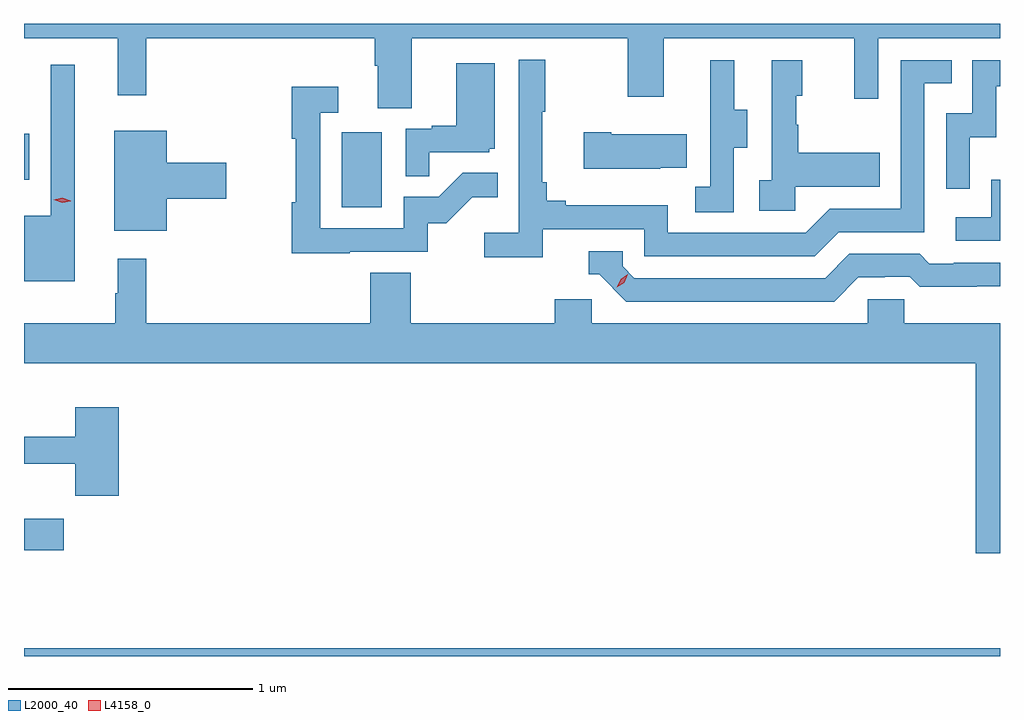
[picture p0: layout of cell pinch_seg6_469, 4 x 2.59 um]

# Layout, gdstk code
import gdstk
lib = gdstk.Library(unit=1e-6, precision=1e-09)
def R(c, l, rs):  # rectangles x0, y0, x1, y1
    for r in rs: c.add(gdstk.rectangle(r[:2], r[2:], *l))
def P(c, l, *ps):  # polygons
    for p in ps: c.add(gdstk.Polygon(p, *l))
L2000_40 = (2000, 40)
L4158_0 = (4158, 0)

pinch_seg6_469 = lib.new_cell('pinch_seg6_469')
R(pinch_seg6_469, L2000_40, [(867.091,915.5,871.091,915.532), (867.091,915.934,867.253,916.063), (868.394,917.34,868.558,917.647), (867.091,917.453,867.112,917.641)])
P(pinch_seg6_469, L2000_40, [(868.681,918.032),(869.566,918.032),(869.566,917.793),(869.713,917.793),(869.713,918.032),(870.494,918.032),(870.494,917.784),(870.591,917.784),(870.591,918.032),(871.091,918.032),(871.091,918.091),(867.091,918.091),(867.091,918.032),(867.476,918.032),(867.476,917.799),(867.593,917.799),(867.593,918.032),(868.529,918.032),(868.529,917.92),(868.541,917.92),(868.541,917.746),(868.681,917.746)],
  [(869.216,917.25),(869.634,917.25),(869.634,917.139),(870.331,917.139),(870.43,917.238),(870.78,917.238),(870.78,917.847),(870.893,917.847),(870.893,917.943),(870.684,917.943),(870.684,917.334),(870.393,917.334),(870.294,917.235),(869.73,917.235),(869.73,917.347),(869.311,917.347),(869.311,917.366),(869.234,917.366),(869.234,917.443),(869.215,917.443),(869.215,917.731),(869.227,917.731),(869.227,917.944),(869.118,917.944),(869.118,917.236),(868.977,917.236),(868.977,917.134),(869.216,917.134)],
  [(870.966,917.627),(871.076,917.627),(871.076,917.835),(871.091,917.835),(871.091,917.943),(870.978,917.943),(870.978,917.724),(870.87,917.724),(870.87,917.415),(870.966,917.415)],
  [(870.252,917.423),(870.599,917.423),(870.599,917.563),(870.265,917.563),(870.265,917.678),(870.255,917.678),(870.255,917.796),(870.28,917.796),(870.28,917.941),(870.156,917.941),(870.156,917.45),(870.105,917.45),(870.105,917.325),(870.252,917.325)],
  [(870,917.584),(870.055,917.584),(870.055,917.739),(870.001,917.739),(870.001,917.941),(869.903,917.941),(869.903,917.727),(869.904,917.727),(869.904,917.423),(869.841,917.423),(869.841,917.32),(870,917.32)],
  [(868.751,917.565),(868.998,917.565),(868.998,917.58),(869.02,917.58),(869.02,917.929),(868.862,917.929),(868.862,917.674),(868.763,917.674),(868.763,917.661),(868.656,917.661),(868.656,917.467),(868.751,917.467)],
  [(867.298,917.923),(867.201,917.923),(867.201,917.305),(867.091,917.305),(867.091,917.036),(867.298,917.036)],
  [(868.427,917.157),(868.746,917.157),(868.746,917.274),(868.822,917.274),(868.929,917.381),(869.033,917.381),(869.033,917.48),(868.889,917.48),(868.791,917.382),(868.647,917.382),(868.647,917.253),(868.305,917.253),(868.305,917.727),(868.378,917.727),(868.378,917.833),(868.189,917.833),(868.189,917.62),(868.204,917.62),(868.204,917.36),(868.189,917.36),(868.189,917.152),(868.427,917.152)],
  [(867.676,917.375),(867.919,917.375),(867.919,917.522),(867.676,917.522),(867.676,917.653),(867.461,917.653),(867.461,917.243),(867.676,917.243)],
  [(869.699,917.501),(869.807,917.501),(869.807,917.638),(869.497,917.638),(869.497,917.646),(869.385,917.646),(869.385,917.498),(869.699,917.498)],
  [(871.091,917.452),(871.056,917.452),(871.056,917.298),(870.909,917.298),(870.909,917.202),(871.091,917.202)],
  [(870.511,917.052),(870.618,917.052),(870.618,917.055),(870.721,917.055),(870.763,917.013),(870.996,917.013),(870.996,917.015),(871.091,917.015),(871.091,917.112),(870.901,917.112),(870.901,917.109),(870.802,917.109),(870.763,917.148),(870.474,917.148),(870.375,917.049),(869.592,917.049),(869.544,917.097),(869.544,917.16),(869.405,917.16),(869.405,917.064),(869.448,917.064),(869.559,916.953),(870.412,916.953)],
  [(871.091,916.864),(870.699,916.864),(870.699,916.962),(870.549,916.962),(870.549,916.864),(869.418,916.864),(869.418,916.962),(869.267,916.962),(869.267,916.864),(868.676,916.864),(868.676,917.072),(868.511,917.072),(868.511,916.864),(867.593,916.864),(867.593,917.128),(867.476,917.128),(867.476,916.988),(867.465,916.988),(867.465,916.864),(867.091,916.864),(867.091,916.7),(870.992,916.7),(870.992,915.921),(871.091,915.921)],
  [(867.479,916.519),(867.301,916.519),(867.301,916.399),(867.091,916.399),(867.091,916.288),(867.301,916.288),(867.301,916.158),(867.479,916.158)])
P(pinch_seg6_469, L4158_0, [(867.247,917.358),(867.212,917.37),(867.212,917.37),(867.212,917.37),(867.248,917.378),(867.283,917.366),(867.283,917.366),(867.283,917.365)],
  [(869.521,917.011),(869.521,917.012),(869.536,917.044),(869.566,917.064),(869.566,917.064),(869.566,917.064),(869.551,917.031),(869.521,917.011)])

lib.write_gds('pinch_seg6_469.gds')
